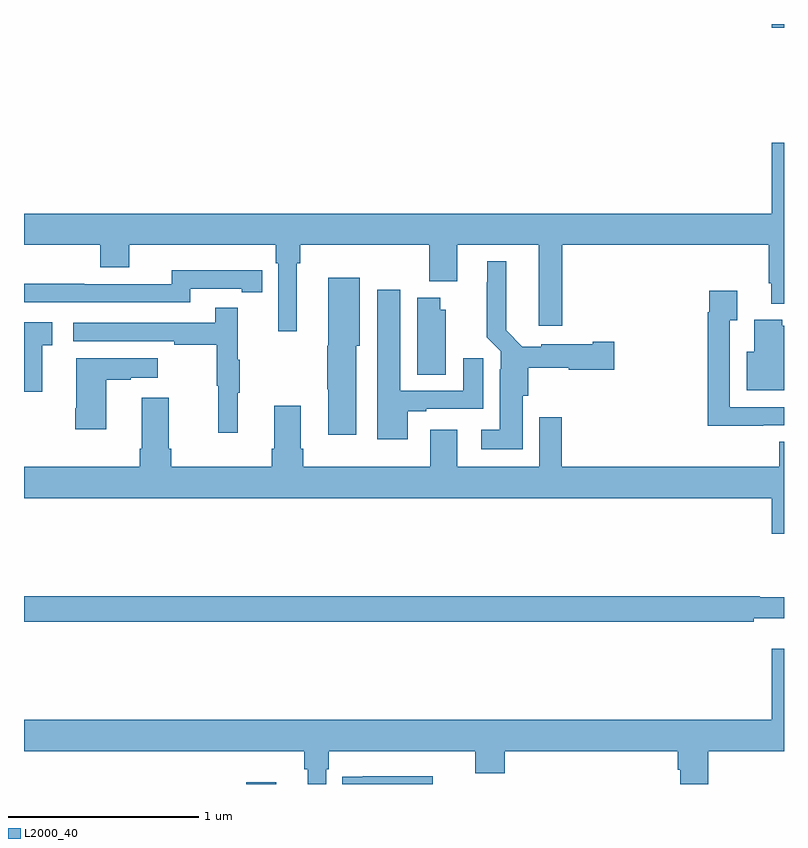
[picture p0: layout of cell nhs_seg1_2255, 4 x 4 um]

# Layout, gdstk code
import gdstk
lib = gdstk.Library(unit=1e-6, precision=1e-09)
def R(c, l, rs):  # rectangles x0, y0, x1, y1
    for r in rs: c.add(gdstk.rectangle(r[:2], r[2:], *l))
def P(c, l, *ps):  # polygons
    for p in ps: c.add(gdstk.Polygon(p, *l))
L2000_40 = (2000, 40)

nhs_seg1_2255 = lib.new_cell('nhs_seg1_2255')
R(nhs_seg1_2255, L2000_40, [(234.17,578.199,234.328,578.209), (236.936,582.18,237,582.199)])
P(nhs_seg1_2255, L2000_40, [(234.436,580.94),(234.455,580.94),(234.455,581.036),(235.132,581.036),(235.132,580.844),(235.279,580.844),(235.279,581.036),(235.709,581.036),(235.709,580.611),(235.832,580.611),(235.832,581.036),(236.921,581.036),(236.921,580.834),(236.933,580.834),(236.933,580.727),(237,580.727),(237,581.575),(236.936,581.575),(236.936,581.2),(233,581.2),(233,581.036),(233.402,581.036),(233.402,580.919),(233.554,580.919),(233.554,581.036),(234.326,581.036),(234.326,580.94),(234.339,580.94),(234.339,580.581),(234.436,580.581)],
  [(235.624,580.242),(235.655,580.242),(235.655,580.391),(235.866,580.391),(235.866,580.379),(236.107,580.379),(236.107,580.526),(235.994,580.526),(235.994,580.513),(235.722,580.513),(235.722,580.501),(235.623,580.501),(235.537,580.588),(235.537,580.951),(235.439,580.951),(235.439,580.841),(235.435,580.841),(235.435,580.55),(235.509,580.476),(235.509,580.382),(235.505,580.382),(235.505,580.063),(235.407,580.063),(235.407,579.962),(235.624,579.962)],
  [(233.874,580.806),(234.146,580.806),(234.146,580.786),(234.254,580.786),(234.254,580.902),(234.146,580.902),(234.146,580.903),(233.778,580.903),(233.778,580.83),(233.318,580.83),(233.318,580.832),(233,580.832),(233,580.734),(233.874,580.734)],
  [(234.748,580.506),(234.766,580.506),(234.766,580.864),(234.602,580.864),(234.602,580.506),(234.595,580.506),(234.595,580.276),(234.602,580.276),(234.602,580.038),(234.748,580.038)],
  [(235.021,580.161),(235.117,580.161),(235.117,580.173),(235.417,580.173),(235.417,580.441),(235.313,580.441),(235.313,580.269),(234.979,580.269),(234.979,580.801),(234.86,580.801),(234.86,580.014),(235.021,580.014)],
  [(236.891,580.086),(237,580.086),(237,580.182),(236.715,580.182),(236.715,580.639),(236.755,580.639),(236.755,580.795),(236.607,580.795),(236.607,580.682),(236.599,580.682),(236.599,580.085),(236.891,580.085)],
  [(235.219,580.695),(235.192,580.695),(235.192,580.759),(235.07,580.759),(235.07,580.354),(235.219,580.354)],
  [(234.125,580.259),(234.136,580.259),(234.136,580.433),(234.125,580.433),(234.125,580.705),(234.007,580.705),(234.007,580.626),(233.259,580.626),(233.259,580.53),(233.791,580.53),(233.791,580.51),(234.015,580.51),(234.015,580.296),(234.022,580.296),(234.022,580.047),(234.125,580.047)],
  [(237,580.611),(236.99,580.611),(236.99,580.642),(236.843,580.642),(236.843,580.474),(236.804,580.474),(236.804,580.271),(237,580.271)],
  [(233.096,580.509),(233.149,580.509),(233.149,580.63),(233,580.63),(233,580.263),(233.096,580.263)],
  [(233.434,580.327),(233.561,580.327),(233.561,580.337),(233.704,580.337),(233.704,580.441),(233.276,580.441),(233.276,580.177),(233.269,580.177),(233.269,580.065),(233.434,580.065)],
  [(237,580.001),(236.975,580.001),(236.975,579.868),(235.829,579.868),(235.829,580.129),(235.713,580.129),(235.713,579.868),(235.279,579.868),(235.279,580.063),(235.139,580.063),(235.139,579.868),(234.47,579.868),(234.47,579.964),(234.457,579.964),(234.457,580.189),(234.317,580.189),(234.317,579.964),(234.305,579.964),(234.305,579.868),(233.774,579.868),(233.774,579.964),(233.761,579.964),(233.761,580.231),(233.621,580.231),(233.621,579.964),(233.609,579.964),(233.609,579.868),(233,579.868),(233,579.704),(236.936,579.704),(236.936,579.516),(237,579.516)],
  [(236.84,579.071),(237,579.071),(237,579.181),(236.872,579.181),(236.872,579.188),(233,579.188),(233,579.052),(236.84,579.052)],
  [(234.591,578.276),(234.605,578.276),(234.605,578.372),(235.376,578.372),(235.376,578.255),(235.529,578.255),(235.529,578.372),(236.441,578.372),(236.441,578.274),(236.453,578.274),(236.453,578.199),(236.601,578.199),(236.601,578.372),(237,578.372),(237,578.911),(236.936,578.911),(236.936,578.536),(233,578.536),(233,578.372),(234.475,578.372),(234.475,578.276),(234.494,578.276),(234.494,578.199),(234.591,578.199)],
  [(235.152,578.239),(234.784,578.239),(234.784,578.238),(234.676,578.238),(234.676,578.199),(235.152,578.199)])

lib.write_gds('nhs_seg1_2255.gds')
